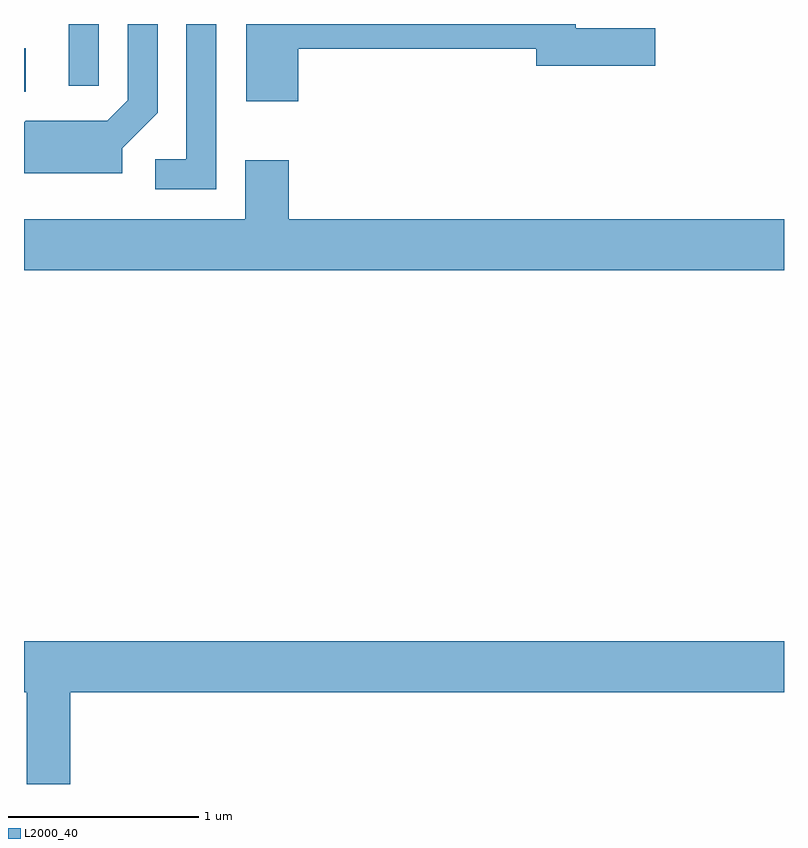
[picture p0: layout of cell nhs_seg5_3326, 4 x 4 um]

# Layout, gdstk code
import gdstk
lib = gdstk.Library(unit=1e-6, precision=1e-09)
def R(c, l, rs):  # rectangles x0, y0, x1, y1
    for r in rs: c.add(gdstk.rectangle(r[:2], r[2:], *l))
def P(c, l, *ps):  # polygons
    for p in ps: c.add(gdstk.Polygon(p, *l))
L2000_40 = (2000, 40)

nhs_seg5_3326 = lib.new_cell('nhs_seg5_3326')
R(nhs_seg5_3326, L2000_40, [(283.611,1477.716,283.619,1477.944), (283.846,1477.748,284.004,1478.072)])
P(nhs_seg5_3326, L2000_40, [(284.129,1477.419),(284.314,1477.604),(284.314,1478.072),(284.156,1478.072),(284.156,1477.672),(284.049,1477.564),(283.619,1477.564),(283.611,1477.556),(283.611,1477.286),(284.129,1477.286)],
  [(284.624,1478.072),(284.466,1478.072),(284.466,1477.359),(284.303,1477.359),(284.303,1477.201),(284.624,1477.201)],
  [(285.054,1477.941),(286.306,1477.941),(286.306,1477.851),(286.934,1477.851),(286.934,1478.049),(286.514,1478.049),(286.514,1478.072),(284.781,1478.072),(284.781,1477.666),(285.054,1477.666)],
  [(287.611,1477.044),(285.004,1477.044),(285.004,1477.354),(284.776,1477.354),(284.776,1477.044),(283.611,1477.044),(283.611,1476.776),(287.611,1476.776)],
  [(283.854,1474.556),(287.611,1474.556),(287.611,1474.824),(283.611,1474.824),(283.611,1474.556),(283.626,1474.556),(283.626,1474.072),(283.854,1474.072)])

lib.write_gds('nhs_seg5_3326.gds')
